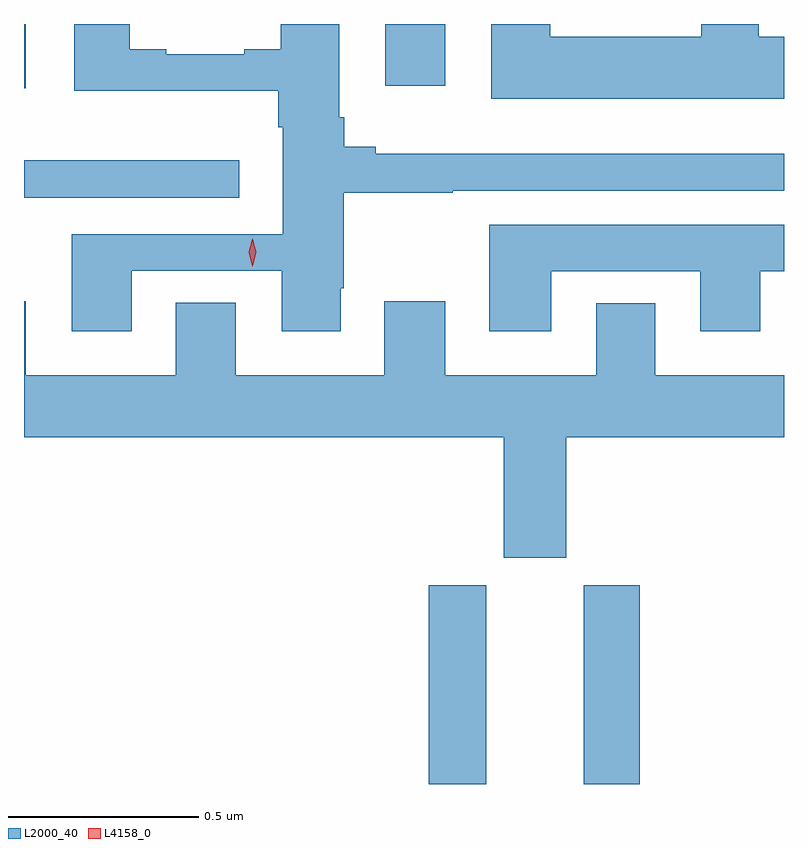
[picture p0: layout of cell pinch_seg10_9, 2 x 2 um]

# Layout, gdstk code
import gdstk
lib = gdstk.Library(unit=1e-6, precision=1e-09)
def R(c, l, rs):  # rectangles x0, y0, x1, y1
    for r in rs: c.add(gdstk.rectangle(r[:2], r[2:], *l))
def P(c, l, *ps):  # polygons
    for p in ps: c.add(gdstk.Polygon(p, *l))
L2000_40 = (2000, 40)
L4158_0 = (4158, 0)

pinch_seg10_9 = lib.new_cell('pinch_seg10_9')
R(pinch_seg10_9, L2000_40, [(1067.24,1258.112,1067.392,1258.635), (1067.648,1258.112,1067.796,1258.635), (1066.175,1259.655,1066.741,1259.753), (1066.175,1259.943,1066.18,1260.112), (1067.126,1259.949,1067.284,1260.112)])
P(pinch_seg10_9, L2000_40, [(1068.175,1260.079),(1068.109,1260.079),(1068.109,1260.112),(1067.957,1260.112),(1067.957,1260.079),(1067.56,1260.079),(1067.56,1260.112),(1067.405,1260.112),(1067.405,1259.915),(1068.175,1259.915)],
  [(1066.459,1259.463),(1066.853,1259.463),(1066.853,1259.304),(1067.008,1259.304),(1067.008,1259.416),(1067.016,1259.416),(1067.016,1259.668),(1067.303,1259.668),(1067.303,1259.673),(1068.175,1259.673),(1068.175,1259.77),(1067.101,1259.77),(1067.101,1259.789),(1067.018,1259.789),(1067.018,1259.866),(1067.005,1259.866),(1067.005,1260.112),(1066.85,1260.112),(1066.85,1260.046),(1066.754,1260.046),(1066.754,1260.033),(1066.549,1260.033),(1066.549,1260.046),(1066.453,1260.046),(1066.453,1260.112),(1066.307,1260.112),(1066.307,1259.936),(1066.844,1259.936),(1066.844,1259.84),(1066.856,1259.84),(1066.856,1259.559),(1066.301,1259.559),(1066.301,1259.304),(1066.459,1259.304)],
  [(1067.563,1259.462),(1067.954,1259.462),(1067.954,1259.304),(1068.112,1259.304),(1068.112,1259.462),(1068.175,1259.462),(1068.175,1259.584),(1067.399,1259.584),(1067.399,1259.304),(1067.563,1259.304)],
  [(1067.602,1259.024),(1068.175,1259.024),(1068.175,1259.188),(1067.836,1259.188),(1067.836,1259.377),(1067.681,1259.377),(1067.681,1259.188),(1067.284,1259.188),(1067.284,1259.383),(1067.123,1259.383),(1067.123,1259.188),(1066.732,1259.188),(1066.732,1259.378),(1066.574,1259.378),(1066.574,1259.188),(1066.18,1259.188),(1066.18,1259.383),(1066.175,1259.383),(1066.175,1259.024),(1067.438,1259.024),(1067.438,1258.707),(1067.602,1258.707)])
P(pinch_seg10_9, L4158_0, [(1066.776,1259.475),(1066.776,1259.475),(1066.766,1259.511),(1066.776,1259.546),(1066.776,1259.547),(1066.777,1259.546),(1066.786,1259.511),(1066.777,1259.475)])

lib.write_gds('pinch_seg10_9.gds')
